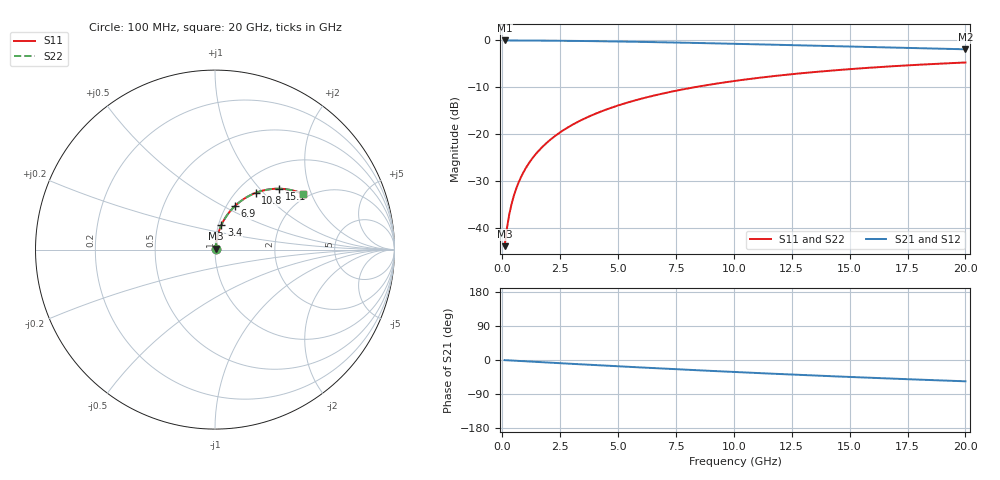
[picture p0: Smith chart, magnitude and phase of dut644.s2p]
! Touchstone file exported from HFSS 2026.1.0
!  File:  C:/ffzhzh/LocalFiles/Ansys_Project_Files/temp_train_BSMRDL_644_1783016828_4048.aedt
!  Generated:  02:28:52 AM Jul  3, 2026
!  Design:  BSMRDL
!  Project:  temp_train_BSMRDL_644_1783016828_4048
! Variables:
!  h_bsmrdl = 4.98um
!  h_ox = 20um
!  h_rdl = 5um
!  h_sub = 80um
!  h_tmrdl = 5um
!  h_tsv = 80um
!  h_via = 3um
!  l_bsmrdl = 815.02um
!  l_sub = 1215.02um
!  l_tmrdl = 200um
!  m_sub = 200um
!  pitch = 50.86um
!  r_tsv = 6um
!  s_tmrdl = 10um
!  w_bsmrdl = 12.61um
!  w_sub = 500um
!  w_tmrdl = 12um
!  x_tsv_center1 = 206um
!  x_tsv_center2 = 1033.63um
!  x_tsv_center3 = 1245.63um
!  x_tsv_center4 = 2073.26um
!  x_tsv_center5 = 2285.26um
!  x_tsv_center6 = 3112.89um
# GHz S MA R 50.000000
! Terminal data exported
! Port[1] = BSM_RDL1_1_T1
! Port[2] = BSM_RDL1_1_T2
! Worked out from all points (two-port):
!   200 points, 100 MHz to 20 GHz, reference 50 ohm
!   highest |S21| = -0.04 dB at 100 MHz (marker M1); lowest = -1.9 dB at 20 GHz (marker M2)
!   |S21| within 3 dB of the highest: start of sweep to end of sweep
!   lowest |S11| = -44.0 dB at 100 MHz (marker M3), VSWR 1.01, Z = 50.5 + j0.437 ohm
!   |S11| at or under -10 dB: start of sweep to 8.331 GHz
!   |S22| runs from -44.0 to -4.7 dB; largest |S21 - S12| = 1.3e-14
!   S11 on the Smith chart (normalised r, x): 100 MHz: 1.01, +0.01; 3.4 GHz: 1.03, +0.29; 6.9 GHz: 1.10, +0.58; 10.8 GHz: 1.22, +0.91; 15.1 GHz: 1.44, +1.29; 20 GHz: 1.86, +1.74
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0.1  0.006343 43.0  0.9954 -0.3  0.9954 -0.3  0.006343 43.0
! Gamma 0 0 0 0
! Port Impedance 50 0 50 0
0.2  0.009864 60.8  0.9953 -0.7  0.9953 -0.7  0.009864 60.8
0.3  0.0138 68.6  0.9951 -1.0  0.9951 -1.0  0.0138 68.6
0.4  0.01785 72.6  0.9949 -1.4  0.9949 -1.4  0.01785 72.6
0.5  0.02194 75.1  0.9948 -1.7  0.9948 -1.7  0.02194 75.1
0.7  0.03016 77.7  0.9944 -2.4  0.9944 -2.4  0.03016 77.7
1  0.04256 79.4  0.9938 -3.4  0.9938 -3.4  0.04256 79.4
1.4  0.05911 79.8  0.9927 -4.8  0.9927 -4.8  0.05911 79.8
2  0.0838 79.1  0.9904 -6.8  0.9904 -6.8  0.0838 79.1
2.6  0.1082 77.7  0.9875 -8.8  0.9875 -8.8  0.1082 77.7
3.4  0.1401 75.5  0.9827 -11.4  0.9827 -11.4  0.1401 75.5
3.5  0.144 75.3  0.9821 -11.7  0.9821 -11.7  0.144 75.3
5  0.2013 70.8  0.9704 -16.6  0.9704 -16.6  0.2013 70.8
6.8  0.2656 65.5  0.9533 -22.2  0.9533 -22.2  0.2656 65.5
6.9  0.269 65.2  0.9523 -22.5  0.9523 -22.5  0.269 65.2
8.4  0.3184 60.9  0.936 -27.0  0.936 -27.0  0.3184 60.9
10.1  0.3699 56.2  0.9163 -31.8  0.9163 -31.8  0.3699 56.2
10.8  0.3897 54.3  0.9079 -33.8  0.9079 -33.8  0.3897 54.3
13.4  0.4562 47.6  0.8761 -40.7  0.8761 -40.7  0.4562 47.6
15.1  0.4938 43.4  0.8555 -45.0  0.8555 -45.0  0.4938 43.4
16.7  0.5253 39.7  0.8368 -48.8  0.8368 -48.8  0.5252 39.7
20  0.5791 32.4  0.8011 -56.2  0.8011 -56.2  0.5791 32.4
